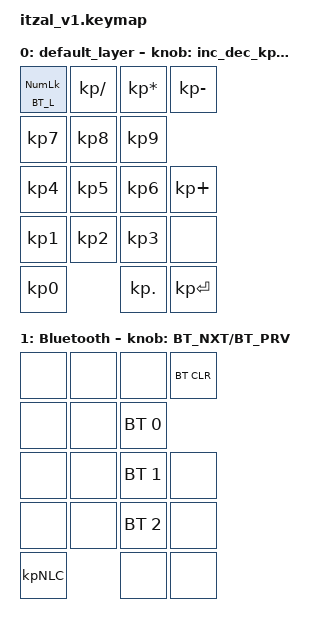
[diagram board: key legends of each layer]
/*
 * Copyright (c) 2020 The ZMK Contributors
 *
 * SPDX-License-Identifier: MIT
 */

#include <behaviors.dtsi>
#include <dt-binding/zmk/keys.h>
#include <dt-binding/zmk/bt.h>

#define DEFAULT 0
#define BT 1

/ {
	keymap {
		compatible = "zmk,keymap";

		default_layer {
// -------------------------
// | NLK |  /  |  *  |  -  |
// |  7  |  8  |  9  |     |
// |  4  |  5  |  6  |  +  |
// |  1  |  2  |  3  |     |
// |     0     |  .  | Ent |
            bindings = <
&lt BT_L KP_NLCK  &kp KP_DIVIDE  &kp KP_MULTIPLY  &kp KP_MINUS
&kp KP_N7    &kp KP_N8      &kp KP_N9
&kp KP_N4    &kp KP_N5      &kp KP_N6        &kp KP_PLUS
&kp KP_N1    &kp KP_N2      &kp KP_N3        &none
      &kp KP_N0           &kp KP_DOT         &kp KP_ENTER
            >;
    sensor-bindings = <&inc_dec_kp &none &none>;
                };

        bluetooth_layer {
        	label = "Bluetooth";
        	bindings = <
&none  &none  &none         &bt BT_CLR
&none  &none  &bt BT_SEL 0
&none  &none  &bt BT_SEL 1  &none
&none  &none  &bt BT_SEL 2  &none
 &kp KP_NLC   &none         &none
 			>;
 	sensor-bindings = <&inc_dec_kp BT_NXT BT_PRV>;
        		;}
	}
}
